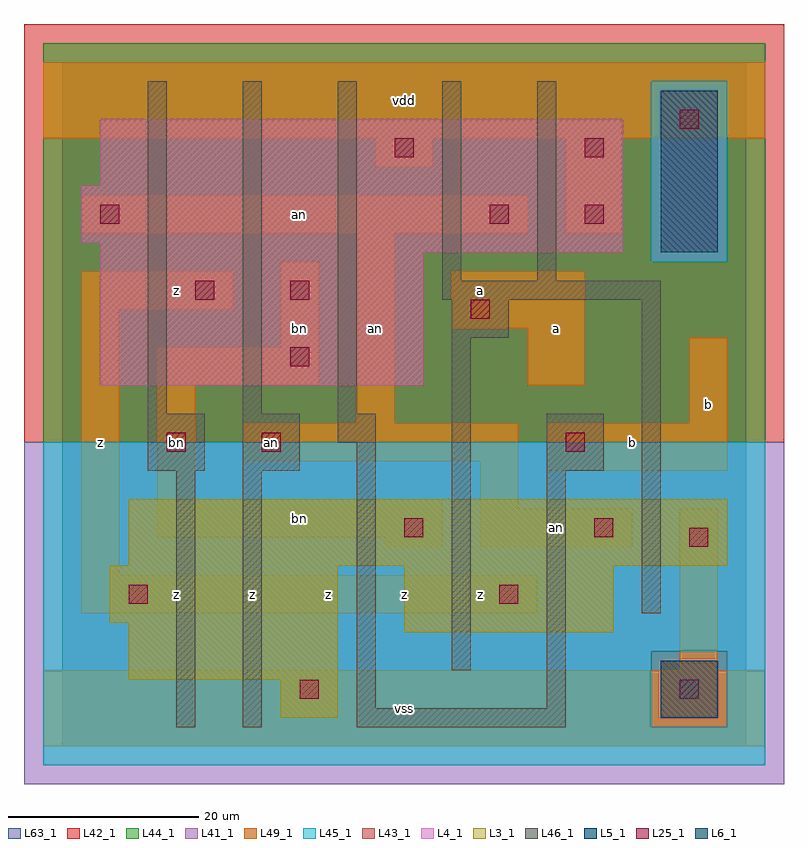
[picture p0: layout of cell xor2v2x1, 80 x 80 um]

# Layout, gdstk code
import gdstk
lib = gdstk.Library(unit=1e-6, precision=1e-09)
def R(c, l, rs):  # rectangles x0, y0, x1, y1
    for r in rs: c.add(gdstk.rectangle(r[:2], r[2:], *l))
def A(c, l, x, y, w, h, nx, ny, dx, dy):  # array of equal rectangles
    R(c, l, [(x+i*dx, y+j*dy, x+i*dx+w, y+j*dy+h) for i in range(nx) for j in range(ny)])
L3_1 = (3, 1)
L4_1 = (4, 1)
L5_1 = (5, 1)
L6_1 = (6, 1)
L25_1 = (25, 1)
L41_1 = (41, 1)
L42_1 = (42, 1)
L43_1 = (43, 1)
L44_1 = (44, 1)
L45_1 = (45, 1)
L46_1 = (46, 1)
L49_1 = (49, 1)
L63_1 = (63, 1)

xor2v2x1 = lib.new_cell('xor2v2x1')
R(xor2v2x1, L3_1, [(23,3,29,7), (7,7,29,13), (36,12,58,19), (5,13,29,19), (7,19,70,26)])
R(xor2v2x1, L4_1, [(4,38,38,52), (4,52,59,53), (2,53,59,59), (4,59,59,66)])
R(xor2v2x1, L5_1, [(63,52,69,69)])
R(xor2v2x1, L6_1, [(63,3,69,9), (63,3,69,9)])
R(xor2v2x1, L25_1, [(25,5,27,7), (65,5,67,7), (7,15,9,17), (46,15,48,17), (66,21,68,23), (36,22,38,24), (56,22,58,24), (11,31,13,33), (21,31,23,33), (53,31,55,33), (24,40,26,42), (43,45,45,47), (14,47,16,49), (24,47,26,49), (4,55,6,57), (45,55,47,57), (55,55,57,57), (35,62,37,64), (55,62,57,64), (65,65,67,67)])
R(xor2v2x1, L41_1, [(-4,-4,76,32)])
R(xor2v2x1, L42_1, [(-4,32,76,76)])
R(xor2v2x1, L43_1, [(23,3,29,7), (63,3,69,9), (7,7,29,13), (36,12,58,19), (5,13,29,19), (7,19,70,26), (4,38,38,52), (4,52,59,53), (63,52,69,69), (2,53,59,59), (4,59,59,66)])
R(xor2v2x1, L44_1, [(62,2,70,10), (-2,32,74,51), (-2,51,62,70), (70,51,74,70), (-2,70,74,74)])
R(xor2v2x1, L45_1, [(-2,-2,74,2), (-2,2,62,10), (70,2,74,10), (-2,10,74,32), (62,51,70,70)])
A(xor2v2x1, L46_1, 9, 35, 2, 35, 3, 1, 10, 0)
R(xor2v2x1, L46_1, [(12,2,14,29), (19,2,21,29), (31,2,53,4), (31,4,33,32), (51,4,53,29), (41,8,43,43), (61,14,63,47), (9,29,15,35), (19,29,25,35), (51,29,57,35), (29,32,33,35), (41,43,47,47), (40,47,63,49), (40,49,42,70), (50,49,52,70)])
R(xor2v2x1, L49_1, [(-2,0,74,8), (65,8,69,25), (2,14,50,18), (2,18,6,46), (34,21,40,22), (44,21,60,25), (10,22,40,26), (44,25,48,30), (10,26,14,38), (51,29,70,34), (19,30,48,34), (31,34,35,54), (66,34,70,43), (10,38,27,42), (49,38,55,44), (23,42,27,51), (41,44,55,50), (2,46,18,50), (2,54,49,58), (53,54,59,64), (33,61,39,64), (-2,64,74,72)])
R(xor2v2x1, L63_1, [(0,0,72,72)])
xor2v2x1.add(gdstk.Label('bn', (12,32), layer=49, texttype=1))
xor2v2x1.add(gdstk.Label('an', (22,32), layer=49, texttype=1))
xor2v2x1.add(gdstk.Label('z', (12,16), layer=49, texttype=1))
xor2v2x1.add(gdstk.Label('z', (4,32), layer=49, texttype=1))
xor2v2x1.add(gdstk.Label('bn', (12,32), layer=49, texttype=1))
xor2v2x1.add(gdstk.Label('z', (12,48), layer=49, texttype=1))
xor2v2x1.add(gdstk.Label('z', (28,16), layer=49, texttype=1))
xor2v2x1.add(gdstk.Label('z', (20,16), layer=49, texttype=1))
xor2v2x1.add(gdstk.Label('bn', (25,44), layer=49, texttype=1))
xor2v2x1.add(gdstk.Label('an', (33,44), layer=49, texttype=1))
xor2v2x1.add(gdstk.Label('vss', (36,4), layer=49, texttype=1))
xor2v2x1.add(gdstk.Label('z', (44,16), layer=49, texttype=1))
xor2v2x1.add(gdstk.Label('z', (36,16), layer=49, texttype=1))
xor2v2x1.add(gdstk.Label('bn', (25,24), layer=49, texttype=1))
xor2v2x1.add(gdstk.Label('a', (44,48), layer=49, texttype=1))
xor2v2x1.add(gdstk.Label('a', (52,44), layer=49, texttype=1))
xor2v2x1.add(gdstk.Label('an', (25,56), layer=49, texttype=1))
xor2v2x1.add(gdstk.Label('vdd', (36,68), layer=49, texttype=1))
xor2v2x1.add(gdstk.Label('an', (52,23), layer=49, texttype=1))
xor2v2x1.add(gdstk.Label('b', (60,32), layer=49, texttype=1))
xor2v2x1.add(gdstk.Label('b', (68,36), layer=49, texttype=1))

lib.write_gds('xor2v2x1.gds')
